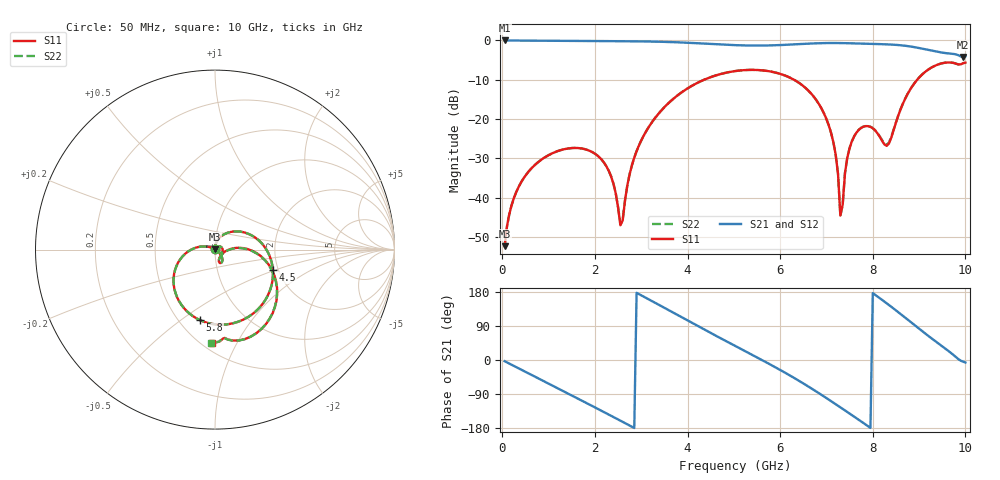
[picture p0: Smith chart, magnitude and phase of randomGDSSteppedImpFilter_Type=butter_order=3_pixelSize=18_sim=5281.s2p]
! freq	dB(S11)	phase(S11)	dB(S12)	phase(S12)
!  dB(S21)	phase(S21)	dB(S22)	phase(S22)
!S-par simulation data
#  GHz  S  DB  R 50
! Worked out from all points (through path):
!   200 points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, 50 MHz to 10 GHz, reference 50 ohm
!   highest |S21| = -0.01 dB at 50 MHz (marker M1); lowest = -4.2 dB at 9.95 GHz (marker M2)
!   group delay of S21, straight-line fit = 198 ps
!   lowest |S11| = -52.3 dB at 50 MHz (marker M3), VSWR 1.00, Z = 50.1 + j0.232 ohm
!   |S11| at or under -10 dB: start of sweep to 4.357 GHz; 6.3 GHz to 8.959 GHz (2.659 GHz wide, 34.9 % of centre)
!   |S22| runs from -52.3 to -5.6 dB; largest |S21 - S12| = 0
!   S11 on the Smith chart (normalised r, x): 50 MHz: 1.00, +0.00; 4.5 GHz: 1.87, -0.48; 5.8 GHz: 0.63, -0.59; 10 GHz: 0.56, -0.80
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0.05  -52.31 73.0  -0.01 -3.2  -0.01 -3.2  -52.31 73.0
0.2  -41.93 71.5  -0.02 -12.5  -0.02 -12.5  -41.93 71.5
0.55  -33.60 54.2  -0.05 -34.3  -0.05 -34.3  -33.60 54.3
1.15  -28.34 19.0  -0.09 -71.7  -0.09 -71.7  -28.34 19.1
1.75  -27.55 -16.7  -0.14 -109.2  -0.14 -109.2  -27.55 -16.5
2.3  -33.17 -45.4  -0.18 -144.0  -0.18 -144.0  -33.16 -44.9
2.55  -47.00 -5.1  -0.19 -160.1  -0.19 -160.1  -46.69 -4.2
2.85  -29.80 81.9  -0.22 -179.5  -0.22 -179.5  -29.79 81.6
3.4  -18.26 51.5  -0.33 144.4  -0.33 144.4  -18.26 51.4
4.5  -9.33 -19.3  -0.90 71.4  -0.90 71.4  -9.33 -19.2
5.05  -7.75 -54.2  -1.21 35.8  -1.21 35.8  -7.75 -54.2
5.8  -7.92 -101.9  -1.26 -12.8  -1.26 -12.8  -7.91 -101.8
6.7  -13.94 -164.6  -0.77 -76.9  -0.77 -76.9  -13.93 -164.4
7.15  -25.92 160.2  -0.66 -112.6  -0.66 -112.6  -25.92 160.5
7.25  -33.99 149.7  -0.66 -120.7  -0.66 -120.7  -33.99 150.3
7.3  -44.52 128.6  -0.67 -124.8  -0.67 -124.8  -44.60 130.1
7.45  -29.81 -37.3  -0.70 -137.2  -0.70 -137.2  -29.80 -37.2
7.65  -23.40 -52.9  -0.77 -153.8  -0.77 -153.8  -23.39 -52.6
8.35  -26.20 -22.9  -1.02 145.1  -1.02 145.1  -25.93 -23.4
9  -9.45 -19.7  -1.93 82.5  -1.93 82.5  -9.44 -20.1
9.95  -5.79 -87.3  -4.21 -4.1  -4.21 -4.1  -5.79 -87.6
10  -5.65 -92.0  -4.04 -6.8  -4.04 -6.8  -5.65 -92.3
